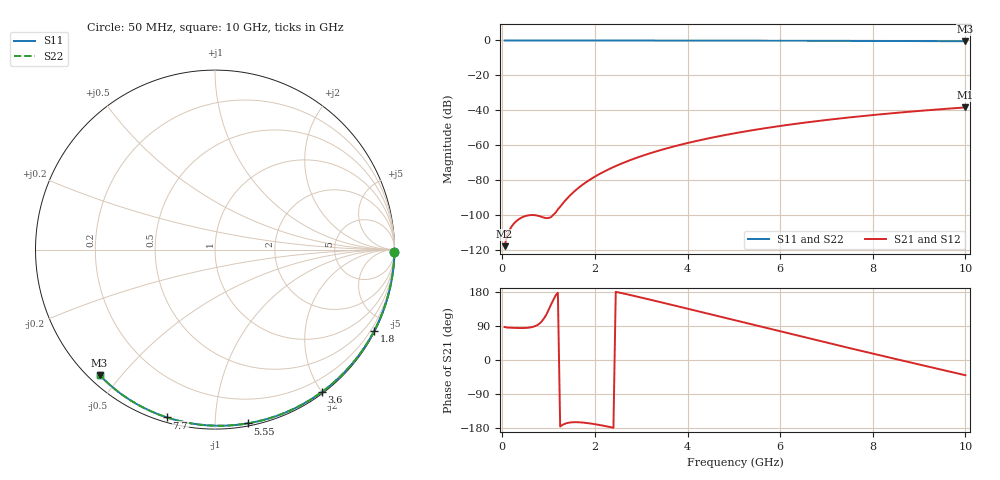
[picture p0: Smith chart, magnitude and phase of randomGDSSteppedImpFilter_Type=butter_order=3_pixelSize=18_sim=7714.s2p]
! freq	dB(S11)	phase(S11)	dB(S12)	phase(S12)
!  dB(S21)	phase(S21)	dB(S22)	phase(S22)
!S-par simulation data
#  GHz  S  DB  R 50
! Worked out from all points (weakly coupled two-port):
!   200 points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, 50 MHz to 10 GHz, reference 50 ohm
!   highest |S21| = -38.31 dB at 10 GHz (marker M1); lowest = -117.7 dB at 50 MHz (marker M2)
!   lowest |S11| = -0.4 dB at 10 GHz (marker M3), VSWR 38.77, Z = 1.54 - j21.9 ohm
!   |S11| at or under -10 dB: nowhere
!   |S22| runs from -0.4 to 0.0 dB; largest |S21 - S12| = 0
!   S11 on the Smith chart (normalised r, x): 50 MHz: open; 1.8 GHz: 0.04, -4.14; 3.6 GHz: 0.02, -2.00; 5.55 GHz: 0.02, -1.20; 7.7 GHz: 0.02, -0.75; 10 GHz: 0.03, -0.44
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0.05  -0.00 -0.8  -117.67 87.0  -117.67 87.0  -0.00 -0.8
0.9  -0.02 -13.7  -101.32 109.8  -101.32 109.8  -0.02 -13.7
1.75  -0.03 -26.4  -82.19 -165.2  -82.19 -165.2  -0.03 -26.4
1.8  -0.03 -27.2  -81.25 -165.8  -81.25 -165.8  -0.03 -27.2
1.85  -0.04 -27.9  -80.36 -166.6  -80.36 -166.6  -0.04 -27.9
1.9  -0.04 -28.7  -79.50 -167.4  -79.50 -167.4  -0.04 -28.7
2.05  -0.04 -30.9  -77.11 -170.4  -77.11 -170.4  -0.04 -30.9
2.25  -0.04 -33.8  -74.31 -175.0  -74.31 -175.0  -0.04 -33.8
2.45  -0.05 -36.7  -71.82 179.9  -71.82 179.9  -0.05 -36.7
2.65  -0.05 -39.6  -69.60 174.6  -69.60 174.6  -0.05 -39.6
3  -0.06 -44.7  -66.19 164.8  -66.19 164.8  -0.06 -44.7
3.4  -0.07 -50.3  -62.85 153.2  -62.85 153.2  -0.07 -50.3
3.6  -0.07 -53.1  -61.36 147.3  -61.36 147.3  -0.07 -53.1
4.3  -0.09 -62.8  -56.85 126.4  -56.85 126.4  -0.09 -62.8
5.05  -0.11 -72.8  -52.93 103.9  -52.93 103.9  -0.11 -72.8
5.55  -0.13 -79.4  -50.71 89.0  -50.71 89.0  -0.13 -79.4
6.1  -0.15 -86.4  -48.53 72.6  -48.53 72.6  -0.15 -86.4
6.7  -0.18 -93.9  -46.44 54.8  -46.44 54.8  -0.18 -93.9
7.7  -0.24 -106.0  -43.46 25.5  -43.46 25.5  -0.24 -106.0
8.35  -0.29 -113.7  -41.79 6.8  -41.79 6.8  -0.29 -113.6
9.15  -0.36 -122.9  -39.98 -16.1  -39.98 -16.1  -0.36 -122.9
10  -0.45 -132.6  -38.31 -40.2  -38.31 -40.2  -0.45 -132.6
